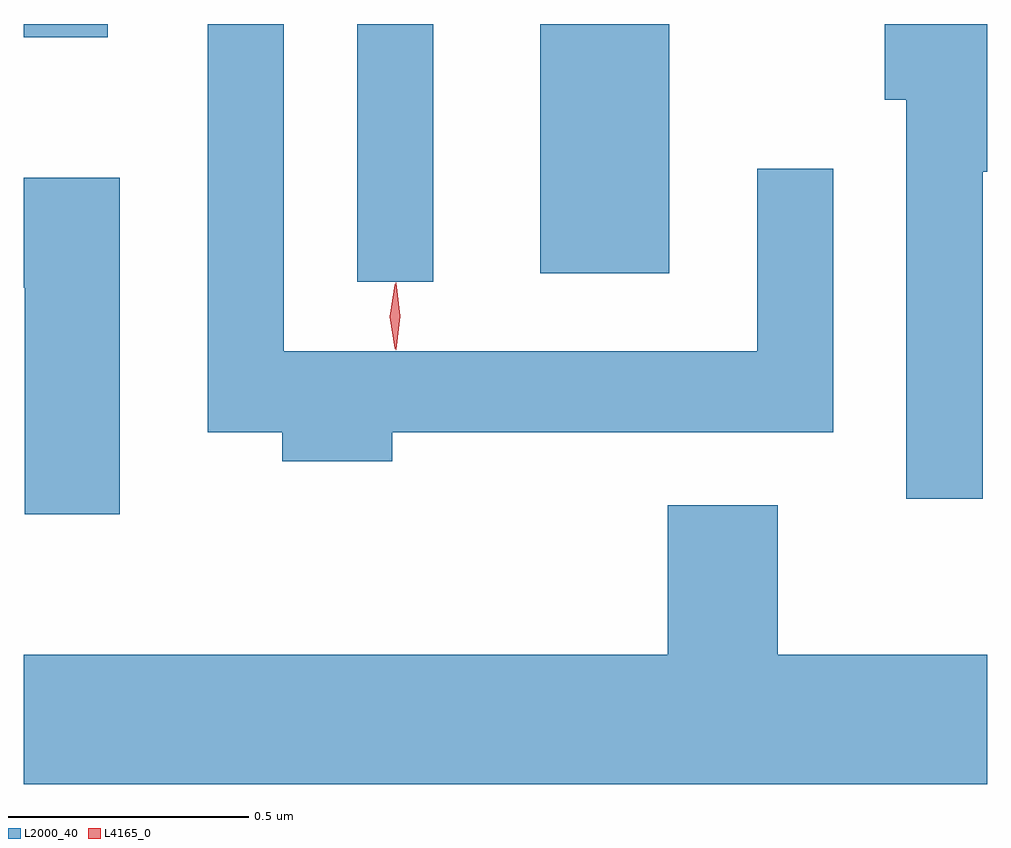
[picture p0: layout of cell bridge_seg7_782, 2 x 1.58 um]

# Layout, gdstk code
import gdstk
lib = gdstk.Library(unit=1e-6, precision=1e-09)
def R(c, l, rs):  # rectangles x0, y0, x1, y1
    for r in rs: c.add(gdstk.rectangle(r[:2], r[2:], *l))
def P(c, l, *ps):  # polygons
    for p in ps: c.add(gdstk.Polygon(p, *l))
L2000_40 = (2000, 40)
L4165_0 = (4165, 0)

bridge_seg7_782 = lib.new_cell('bridge_seg7_782')
R(bridge_seg7_782, L2000_40, [(498.296,1739.778,498.454,1740.313), (498.676,1739.796,498.944,1740.313), (497.604,1740.286,497.779,1740.313)])
P(bridge_seg7_782, L2000_40, [(498.369,1739.466),(499.284,1739.466),(499.284,1740.013),(499.126,1740.013),(499.126,1739.634),(498.144,1739.634),(498.144,1740.313),(497.986,1740.313),(497.986,1739.466),(498.141,1739.466),(498.141,1739.406),(498.369,1739.406)],
  [(499.594,1740.006),(499.604,1740.006),(499.604,1740.313),(499.391,1740.313),(499.391,1740.156),(499.436,1740.156),(499.436,1739.328),(499.594,1739.328)],
  [(497.804,1739.994),(497.604,1739.994),(497.604,1739.766),(497.606,1739.766),(497.606,1739.296),(497.804,1739.296)],
  [(499.604,1739.004),(499.169,1739.004),(499.169,1739.314),(498.941,1739.314),(498.941,1739.004),(497.604,1739.004),(497.604,1738.736),(499.604,1738.736)])
P(bridge_seg7_782, L4165_0, [(498.376,1739.637),(498.376,1739.637),(498.366,1739.707),(498.376,1739.776),(498.376,1739.776),(498.377,1739.776),(498.386,1739.707),(498.377,1739.637)],
  [(498.374,1739.639),(498.374,1739.64),(498.364,1739.706),(498.374,1739.772),(498.374,1739.773),(498.375,1739.772),(498.384,1739.706),(498.375,1739.64)])

lib.write_gds('bridge_seg7_782.gds')
